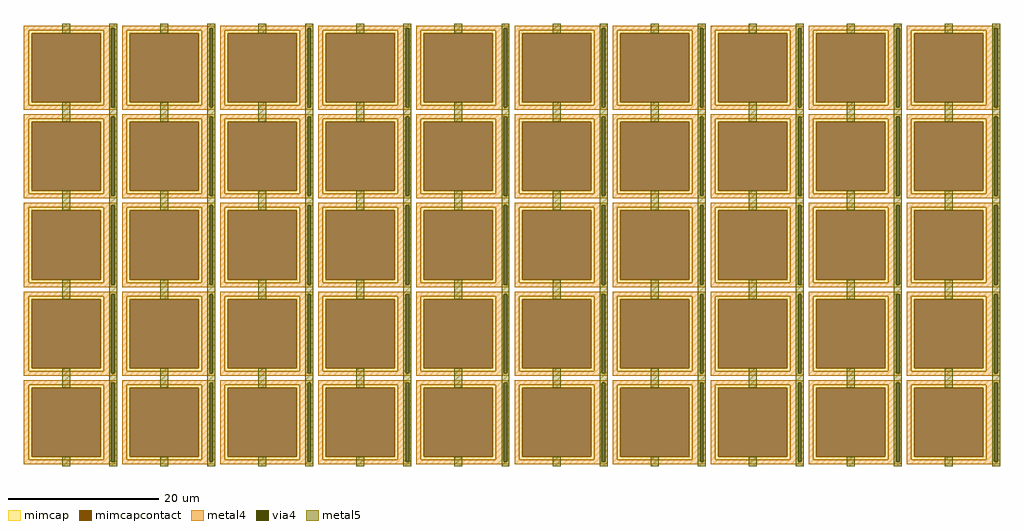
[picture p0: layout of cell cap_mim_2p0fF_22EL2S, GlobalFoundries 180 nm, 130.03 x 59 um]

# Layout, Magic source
magic
tech gf180mcuD
magscale 1 10
<< mimcap >>
rect -12883 5640 -10883 5720
rect -12883 3800 -12803 5640
rect -10963 3800 -10883 5640
rect -12883 3720 -10883 3800
rect -10269 5640 -8269 5720
rect -10269 3800 -10189 5640
rect -8349 3800 -8269 5640
rect -10269 3720 -8269 3800
rect -7655 5640 -5655 5720
rect -7655 3800 -7575 5640
rect -5735 3800 -5655 5640
rect -7655 3720 -5655 3800
rect -5041 5640 -3041 5720
rect -5041 3800 -4961 5640
rect -3121 3800 -3041 5640
rect -5041 3720 -3041 3800
rect -2427 5640 -427 5720
rect -2427 3800 -2347 5640
rect -507 3800 -427 5640
rect -2427 3720 -427 3800
rect 187 5640 2187 5720
rect 187 3800 267 5640
rect 2107 3800 2187 5640
rect 187 3720 2187 3800
rect 2801 5640 4801 5720
rect 2801 3800 2881 5640
rect 4721 3800 4801 5640
rect 2801 3720 4801 3800
rect 5415 5640 7415 5720
rect 5415 3800 5495 5640
rect 7335 3800 7415 5640
rect 5415 3720 7415 3800
rect 8029 5640 10029 5720
rect 8029 3800 8109 5640
rect 9949 3800 10029 5640
rect 8029 3720 10029 3800
rect 10643 5640 12643 5720
rect 10643 3800 10723 5640
rect 12563 3800 12643 5640
rect 10643 3720 12643 3800
rect -12883 3280 -10883 3360
rect -12883 1440 -12803 3280
rect -10963 1440 -10883 3280
rect -12883 1360 -10883 1440
rect -10269 3280 -8269 3360
rect -10269 1440 -10189 3280
rect -8349 1440 -8269 3280
rect -10269 1360 -8269 1440
rect -7655 3280 -5655 3360
rect -7655 1440 -7575 3280
rect -5735 1440 -5655 3280
rect -7655 1360 -5655 1440
rect -5041 3280 -3041 3360
rect -5041 1440 -4961 3280
rect -3121 1440 -3041 3280
rect -5041 1360 -3041 1440
rect -2427 3280 -427 3360
rect -2427 1440 -2347 3280
rect -507 1440 -427 3280
rect -2427 1360 -427 1440
rect 187 3280 2187 3360
rect 187 1440 267 3280
rect 2107 1440 2187 3280
rect 187 1360 2187 1440
rect 2801 3280 4801 3360
rect 2801 1440 2881 3280
rect 4721 1440 4801 3280
rect 2801 1360 4801 1440
rect 5415 3280 7415 3360
rect 5415 1440 5495 3280
rect 7335 1440 7415 3280
rect 5415 1360 7415 1440
rect 8029 3280 10029 3360
rect 8029 1440 8109 3280
rect 9949 1440 10029 3280
rect 8029 1360 10029 1440
rect 10643 3280 12643 3360
rect 10643 1440 10723 3280
rect 12563 1440 12643 3280
rect 10643 1360 12643 1440
rect -12883 920 -10883 1000
rect -12883 -920 -12803 920
rect -10963 -920 -10883 920
rect -12883 -1000 -10883 -920
rect -10269 920 -8269 1000
rect -10269 -920 -10189 920
rect -8349 -920 -8269 920
rect -10269 -1000 -8269 -920
rect -7655 920 -5655 1000
rect -7655 -920 -7575 920
rect -5735 -920 -5655 920
rect -7655 -1000 -5655 -920
rect -5041 920 -3041 1000
rect -5041 -920 -4961 920
rect -3121 -920 -3041 920
rect -5041 -1000 -3041 -920
rect -2427 920 -427 1000
rect -2427 -920 -2347 920
rect -507 -920 -427 920
rect -2427 -1000 -427 -920
rect 187 920 2187 1000
rect 187 -920 267 920
rect 2107 -920 2187 920
rect 187 -1000 2187 -920
rect 2801 920 4801 1000
rect 2801 -920 2881 920
rect 4721 -920 4801 920
rect 2801 -1000 4801 -920
rect 5415 920 7415 1000
rect 5415 -920 5495 920
rect 7335 -920 7415 920
rect 5415 -1000 7415 -920
rect 8029 920 10029 1000
rect 8029 -920 8109 920
rect 9949 -920 10029 920
rect 8029 -1000 10029 -920
rect 10643 920 12643 1000
rect 10643 -920 10723 920
rect 12563 -920 12643 920
rect 10643 -1000 12643 -920
rect -12883 -1440 -10883 -1360
rect -12883 -3280 -12803 -1440
rect -10963 -3280 -10883 -1440
rect -12883 -3360 -10883 -3280
rect -10269 -1440 -8269 -1360
rect -10269 -3280 -10189 -1440
rect -8349 -3280 -8269 -1440
rect -10269 -3360 -8269 -3280
rect -7655 -1440 -5655 -1360
rect -7655 -3280 -7575 -1440
rect -5735 -3280 -5655 -1440
rect -7655 -3360 -5655 -3280
rect -5041 -1440 -3041 -1360
rect -5041 -3280 -4961 -1440
rect -3121 -3280 -3041 -1440
rect -5041 -3360 -3041 -3280
rect -2427 -1440 -427 -1360
rect -2427 -3280 -2347 -1440
rect -507 -3280 -427 -1440
rect -2427 -3360 -427 -3280
rect 187 -1440 2187 -1360
rect 187 -3280 267 -1440
rect 2107 -3280 2187 -1440
rect 187 -3360 2187 -3280
rect 2801 -1440 4801 -1360
rect 2801 -3280 2881 -1440
rect 4721 -3280 4801 -1440
rect 2801 -3360 4801 -3280
rect 5415 -1440 7415 -1360
rect 5415 -3280 5495 -1440
rect 7335 -3280 7415 -1440
rect 5415 -3360 7415 -3280
rect 8029 -1440 10029 -1360
rect 8029 -3280 8109 -1440
rect 9949 -3280 10029 -1440
rect 8029 -3360 10029 -3280
rect 10643 -1440 12643 -1360
rect 10643 -3280 10723 -1440
rect 12563 -3280 12643 -1440
rect 10643 -3360 12643 -3280
rect -12883 -3800 -10883 -3720
rect -12883 -5640 -12803 -3800
rect -10963 -5640 -10883 -3800
rect -12883 -5720 -10883 -5640
rect -10269 -3800 -8269 -3720
rect -10269 -5640 -10189 -3800
rect -8349 -5640 -8269 -3800
rect -10269 -5720 -8269 -5640
rect -7655 -3800 -5655 -3720
rect -7655 -5640 -7575 -3800
rect -5735 -5640 -5655 -3800
rect -7655 -5720 -5655 -5640
rect -5041 -3800 -3041 -3720
rect -5041 -5640 -4961 -3800
rect -3121 -5640 -3041 -3800
rect -5041 -5720 -3041 -5640
rect -2427 -3800 -427 -3720
rect -2427 -5640 -2347 -3800
rect -507 -5640 -427 -3800
rect -2427 -5720 -427 -5640
rect 187 -3800 2187 -3720
rect 187 -5640 267 -3800
rect 2107 -5640 2187 -3800
rect 187 -5720 2187 -5640
rect 2801 -3800 4801 -3720
rect 2801 -5640 2881 -3800
rect 4721 -5640 4801 -3800
rect 2801 -5720 4801 -5640
rect 5415 -3800 7415 -3720
rect 5415 -5640 5495 -3800
rect 7335 -5640 7415 -3800
rect 5415 -5720 7415 -5640
rect 8029 -3800 10029 -3720
rect 8029 -5640 8109 -3800
rect 9949 -5640 10029 -3800
rect 8029 -5720 10029 -5640
rect 10643 -3800 12643 -3720
rect 10643 -5640 10723 -3800
rect 12563 -5640 12643 -3800
rect 10643 -5720 12643 -5640
<< mimcapcontact >>
rect -12803 3800 -10963 5640
rect -10189 3800 -8349 5640
rect -7575 3800 -5735 5640
rect -4961 3800 -3121 5640
rect -2347 3800 -507 5640
rect 267 3800 2107 5640
rect 2881 3800 4721 5640
rect 5495 3800 7335 5640
rect 8109 3800 9949 5640
rect 10723 3800 12563 5640
rect -12803 1440 -10963 3280
rect -10189 1440 -8349 3280
rect -7575 1440 -5735 3280
rect -4961 1440 -3121 3280
rect -2347 1440 -507 3280
rect 267 1440 2107 3280
rect 2881 1440 4721 3280
rect 5495 1440 7335 3280
rect 8109 1440 9949 3280
rect 10723 1440 12563 3280
rect -12803 -920 -10963 920
rect -10189 -920 -8349 920
rect -7575 -920 -5735 920
rect -4961 -920 -3121 920
rect -2347 -920 -507 920
rect 267 -920 2107 920
rect 2881 -920 4721 920
rect 5495 -920 7335 920
rect 8109 -920 9949 920
rect 10723 -920 12563 920
rect -12803 -3280 -10963 -1440
rect -10189 -3280 -8349 -1440
rect -7575 -3280 -5735 -1440
rect -4961 -3280 -3121 -1440
rect -2347 -3280 -507 -1440
rect 267 -3280 2107 -1440
rect 2881 -3280 4721 -1440
rect 5495 -3280 7335 -1440
rect 8109 -3280 9949 -1440
rect 10723 -3280 12563 -1440
rect -12803 -5640 -10963 -3800
rect -10189 -5640 -8349 -3800
rect -7575 -5640 -5735 -3800
rect -4961 -5640 -3121 -3800
rect -2347 -5640 -507 -3800
rect 267 -5640 2107 -3800
rect 2881 -5640 4721 -3800
rect 5495 -5640 7335 -3800
rect 8109 -5640 9949 -3800
rect 10723 -5640 12563 -3800
<< metal4 >>
rect -13003 5773 -10523 5840
rect -13003 5720 -10673 5773
rect -13003 3720 -12883 5720
rect -10883 3720 -10673 5720
rect -13003 3667 -10673 3720
rect -10585 3667 -10523 5773
rect -13003 3600 -10523 3667
rect -10389 5773 -7909 5840
rect -10389 5720 -8059 5773
rect -10389 3720 -10269 5720
rect -8269 3720 -8059 5720
rect -10389 3667 -8059 3720
rect -7971 3667 -7909 5773
rect -10389 3600 -7909 3667
rect -7775 5773 -5295 5840
rect -7775 5720 -5445 5773
rect -7775 3720 -7655 5720
rect -5655 3720 -5445 5720
rect -7775 3667 -5445 3720
rect -5357 3667 -5295 5773
rect -7775 3600 -5295 3667
rect -5161 5773 -2681 5840
rect -5161 5720 -2831 5773
rect -5161 3720 -5041 5720
rect -3041 3720 -2831 5720
rect -5161 3667 -2831 3720
rect -2743 3667 -2681 5773
rect -5161 3600 -2681 3667
rect -2547 5773 -67 5840
rect -2547 5720 -217 5773
rect -2547 3720 -2427 5720
rect -427 3720 -217 5720
rect -2547 3667 -217 3720
rect -129 3667 -67 5773
rect -2547 3600 -67 3667
rect 67 5773 2547 5840
rect 67 5720 2397 5773
rect 67 3720 187 5720
rect 2187 3720 2397 5720
rect 67 3667 2397 3720
rect 2485 3667 2547 5773
rect 67 3600 2547 3667
rect 2681 5773 5161 5840
rect 2681 5720 5011 5773
rect 2681 3720 2801 5720
rect 4801 3720 5011 5720
rect 2681 3667 5011 3720
rect 5099 3667 5161 5773
rect 2681 3600 5161 3667
rect 5295 5773 7775 5840
rect 5295 5720 7625 5773
rect 5295 3720 5415 5720
rect 7415 3720 7625 5720
rect 5295 3667 7625 3720
rect 7713 3667 7775 5773
rect 5295 3600 7775 3667
rect 7909 5773 10389 5840
rect 7909 5720 10239 5773
rect 7909 3720 8029 5720
rect 10029 3720 10239 5720
rect 7909 3667 10239 3720
rect 10327 3667 10389 5773
rect 7909 3600 10389 3667
rect 10523 5773 13003 5840
rect 10523 5720 12853 5773
rect 10523 3720 10643 5720
rect 12643 3720 12853 5720
rect 10523 3667 12853 3720
rect 12941 3667 13003 5773
rect 10523 3600 13003 3667
rect -13003 3413 -10523 3480
rect -13003 3360 -10673 3413
rect -13003 1360 -12883 3360
rect -10883 1360 -10673 3360
rect -13003 1307 -10673 1360
rect -10585 1307 -10523 3413
rect -13003 1240 -10523 1307
rect -10389 3413 -7909 3480
rect -10389 3360 -8059 3413
rect -10389 1360 -10269 3360
rect -8269 1360 -8059 3360
rect -10389 1307 -8059 1360
rect -7971 1307 -7909 3413
rect -10389 1240 -7909 1307
rect -7775 3413 -5295 3480
rect -7775 3360 -5445 3413
rect -7775 1360 -7655 3360
rect -5655 1360 -5445 3360
rect -7775 1307 -5445 1360
rect -5357 1307 -5295 3413
rect -7775 1240 -5295 1307
rect -5161 3413 -2681 3480
rect -5161 3360 -2831 3413
rect -5161 1360 -5041 3360
rect -3041 1360 -2831 3360
rect -5161 1307 -2831 1360
rect -2743 1307 -2681 3413
rect -5161 1240 -2681 1307
rect -2547 3413 -67 3480
rect -2547 3360 -217 3413
rect -2547 1360 -2427 3360
rect -427 1360 -217 3360
rect -2547 1307 -217 1360
rect -129 1307 -67 3413
rect -2547 1240 -67 1307
rect 67 3413 2547 3480
rect 67 3360 2397 3413
rect 67 1360 187 3360
rect 2187 1360 2397 3360
rect 67 1307 2397 1360
rect 2485 1307 2547 3413
rect 67 1240 2547 1307
rect 2681 3413 5161 3480
rect 2681 3360 5011 3413
rect 2681 1360 2801 3360
rect 4801 1360 5011 3360
rect 2681 1307 5011 1360
rect 5099 1307 5161 3413
rect 2681 1240 5161 1307
rect 5295 3413 7775 3480
rect 5295 3360 7625 3413
rect 5295 1360 5415 3360
rect 7415 1360 7625 3360
rect 5295 1307 7625 1360
rect 7713 1307 7775 3413
rect 5295 1240 7775 1307
rect 7909 3413 10389 3480
rect 7909 3360 10239 3413
rect 7909 1360 8029 3360
rect 10029 1360 10239 3360
rect 7909 1307 10239 1360
rect 10327 1307 10389 3413
rect 7909 1240 10389 1307
rect 10523 3413 13003 3480
rect 10523 3360 12853 3413
rect 10523 1360 10643 3360
rect 12643 1360 12853 3360
rect 10523 1307 12853 1360
rect 12941 1307 13003 3413
rect 10523 1240 13003 1307
rect -13003 1053 -10523 1120
rect -13003 1000 -10673 1053
rect -13003 -1000 -12883 1000
rect -10883 -1000 -10673 1000
rect -13003 -1053 -10673 -1000
rect -10585 -1053 -10523 1053
rect -13003 -1120 -10523 -1053
rect -10389 1053 -7909 1120
rect -10389 1000 -8059 1053
rect -10389 -1000 -10269 1000
rect -8269 -1000 -8059 1000
rect -10389 -1053 -8059 -1000
rect -7971 -1053 -7909 1053
rect -10389 -1120 -7909 -1053
rect -7775 1053 -5295 1120
rect -7775 1000 -5445 1053
rect -7775 -1000 -7655 1000
rect -5655 -1000 -5445 1000
rect -7775 -1053 -5445 -1000
rect -5357 -1053 -5295 1053
rect -7775 -1120 -5295 -1053
rect -5161 1053 -2681 1120
rect -5161 1000 -2831 1053
rect -5161 -1000 -5041 1000
rect -3041 -1000 -2831 1000
rect -5161 -1053 -2831 -1000
rect -2743 -1053 -2681 1053
rect -5161 -1120 -2681 -1053
rect -2547 1053 -67 1120
rect -2547 1000 -217 1053
rect -2547 -1000 -2427 1000
rect -427 -1000 -217 1000
rect -2547 -1053 -217 -1000
rect -129 -1053 -67 1053
rect -2547 -1120 -67 -1053
rect 67 1053 2547 1120
rect 67 1000 2397 1053
rect 67 -1000 187 1000
rect 2187 -1000 2397 1000
rect 67 -1053 2397 -1000
rect 2485 -1053 2547 1053
rect 67 -1120 2547 -1053
rect 2681 1053 5161 1120
rect 2681 1000 5011 1053
rect 2681 -1000 2801 1000
rect 4801 -1000 5011 1000
rect 2681 -1053 5011 -1000
rect 5099 -1053 5161 1053
rect 2681 -1120 5161 -1053
rect 5295 1053 7775 1120
rect 5295 1000 7625 1053
rect 5295 -1000 5415 1000
rect 7415 -1000 7625 1000
rect 5295 -1053 7625 -1000
rect 7713 -1053 7775 1053
rect 5295 -1120 7775 -1053
rect 7909 1053 10389 1120
rect 7909 1000 10239 1053
rect 7909 -1000 8029 1000
rect 10029 -1000 10239 1000
rect 7909 -1053 10239 -1000
rect 10327 -1053 10389 1053
rect 7909 -1120 10389 -1053
rect 10523 1053 13003 1120
rect 10523 1000 12853 1053
rect 10523 -1000 10643 1000
rect 12643 -1000 12853 1000
rect 10523 -1053 12853 -1000
rect 12941 -1053 13003 1053
rect 10523 -1120 13003 -1053
rect -13003 -1307 -10523 -1240
rect -13003 -1360 -10673 -1307
rect -13003 -3360 -12883 -1360
rect -10883 -3360 -10673 -1360
rect -13003 -3413 -10673 -3360
rect -10585 -3413 -10523 -1307
rect -13003 -3480 -10523 -3413
rect -10389 -1307 -7909 -1240
rect -10389 -1360 -8059 -1307
rect -10389 -3360 -10269 -1360
rect -8269 -3360 -8059 -1360
rect -10389 -3413 -8059 -3360
rect -7971 -3413 -7909 -1307
rect -10389 -3480 -7909 -3413
rect -7775 -1307 -5295 -1240
rect -7775 -1360 -5445 -1307
rect -7775 -3360 -7655 -1360
rect -5655 -3360 -5445 -1360
rect -7775 -3413 -5445 -3360
rect -5357 -3413 -5295 -1307
rect -7775 -3480 -5295 -3413
rect -5161 -1307 -2681 -1240
rect -5161 -1360 -2831 -1307
rect -5161 -3360 -5041 -1360
rect -3041 -3360 -2831 -1360
rect -5161 -3413 -2831 -3360
rect -2743 -3413 -2681 -1307
rect -5161 -3480 -2681 -3413
rect -2547 -1307 -67 -1240
rect -2547 -1360 -217 -1307
rect -2547 -3360 -2427 -1360
rect -427 -3360 -217 -1360
rect -2547 -3413 -217 -3360
rect -129 -3413 -67 -1307
rect -2547 -3480 -67 -3413
rect 67 -1307 2547 -1240
rect 67 -1360 2397 -1307
rect 67 -3360 187 -1360
rect 2187 -3360 2397 -1360
rect 67 -3413 2397 -3360
rect 2485 -3413 2547 -1307
rect 67 -3480 2547 -3413
rect 2681 -1307 5161 -1240
rect 2681 -1360 5011 -1307
rect 2681 -3360 2801 -1360
rect 4801 -3360 5011 -1360
rect 2681 -3413 5011 -3360
rect 5099 -3413 5161 -1307
rect 2681 -3480 5161 -3413
rect 5295 -1307 7775 -1240
rect 5295 -1360 7625 -1307
rect 5295 -3360 5415 -1360
rect 7415 -3360 7625 -1360
rect 5295 -3413 7625 -3360
rect 7713 -3413 7775 -1307
rect 5295 -3480 7775 -3413
rect 7909 -1307 10389 -1240
rect 7909 -1360 10239 -1307
rect 7909 -3360 8029 -1360
rect 10029 -3360 10239 -1360
rect 7909 -3413 10239 -3360
rect 10327 -3413 10389 -1307
rect 7909 -3480 10389 -3413
rect 10523 -1307 13003 -1240
rect 10523 -1360 12853 -1307
rect 10523 -3360 10643 -1360
rect 12643 -3360 12853 -1360
rect 10523 -3413 12853 -3360
rect 12941 -3413 13003 -1307
rect 10523 -3480 13003 -3413
rect -13003 -3667 -10523 -3600
rect -13003 -3720 -10673 -3667
rect -13003 -5720 -12883 -3720
rect -10883 -5720 -10673 -3720
rect -13003 -5773 -10673 -5720
rect -10585 -5773 -10523 -3667
rect -13003 -5840 -10523 -5773
rect -10389 -3667 -7909 -3600
rect -10389 -3720 -8059 -3667
rect -10389 -5720 -10269 -3720
rect -8269 -5720 -8059 -3720
rect -10389 -5773 -8059 -5720
rect -7971 -5773 -7909 -3667
rect -10389 -5840 -7909 -5773
rect -7775 -3667 -5295 -3600
rect -7775 -3720 -5445 -3667
rect -7775 -5720 -7655 -3720
rect -5655 -5720 -5445 -3720
rect -7775 -5773 -5445 -5720
rect -5357 -5773 -5295 -3667
rect -7775 -5840 -5295 -5773
rect -5161 -3667 -2681 -3600
rect -5161 -3720 -2831 -3667
rect -5161 -5720 -5041 -3720
rect -3041 -5720 -2831 -3720
rect -5161 -5773 -2831 -5720
rect -2743 -5773 -2681 -3667
rect -5161 -5840 -2681 -5773
rect -2547 -3667 -67 -3600
rect -2547 -3720 -217 -3667
rect -2547 -5720 -2427 -3720
rect -427 -5720 -217 -3720
rect -2547 -5773 -217 -5720
rect -129 -5773 -67 -3667
rect -2547 -5840 -67 -5773
rect 67 -3667 2547 -3600
rect 67 -3720 2397 -3667
rect 67 -5720 187 -3720
rect 2187 -5720 2397 -3720
rect 67 -5773 2397 -5720
rect 2485 -5773 2547 -3667
rect 67 -5840 2547 -5773
rect 2681 -3667 5161 -3600
rect 2681 -3720 5011 -3667
rect 2681 -5720 2801 -3720
rect 4801 -5720 5011 -3720
rect 2681 -5773 5011 -5720
rect 5099 -5773 5161 -3667
rect 2681 -5840 5161 -5773
rect 5295 -3667 7775 -3600
rect 5295 -3720 7625 -3667
rect 5295 -5720 5415 -3720
rect 7415 -5720 7625 -3720
rect 5295 -5773 7625 -5720
rect 7713 -5773 7775 -3667
rect 5295 -5840 7775 -5773
rect 7909 -3667 10389 -3600
rect 7909 -3720 10239 -3667
rect 7909 -5720 8029 -3720
rect 10029 -5720 10239 -3720
rect 7909 -5773 10239 -5720
rect 10327 -5773 10389 -3667
rect 7909 -5840 10389 -5773
rect 10523 -3667 13003 -3600
rect 10523 -3720 12853 -3667
rect 10523 -5720 10643 -3720
rect 12643 -5720 12853 -3720
rect 10523 -5773 12853 -5720
rect 12941 -5773 13003 -3667
rect 10523 -5840 13003 -5773
<< via4 >>
rect -10673 3667 -10585 5773
rect -8059 3667 -7971 5773
rect -5445 3667 -5357 5773
rect -2831 3667 -2743 5773
rect -217 3667 -129 5773
rect 2397 3667 2485 5773
rect 5011 3667 5099 5773
rect 7625 3667 7713 5773
rect 10239 3667 10327 5773
rect 12853 3667 12941 5773
rect -10673 1307 -10585 3413
rect -8059 1307 -7971 3413
rect -5445 1307 -5357 3413
rect -2831 1307 -2743 3413
rect -217 1307 -129 3413
rect 2397 1307 2485 3413
rect 5011 1307 5099 3413
rect 7625 1307 7713 3413
rect 10239 1307 10327 3413
rect 12853 1307 12941 3413
rect -10673 -1053 -10585 1053
rect -8059 -1053 -7971 1053
rect -5445 -1053 -5357 1053
rect -2831 -1053 -2743 1053
rect -217 -1053 -129 1053
rect 2397 -1053 2485 1053
rect 5011 -1053 5099 1053
rect 7625 -1053 7713 1053
rect 10239 -1053 10327 1053
rect 12853 -1053 12941 1053
rect -10673 -3413 -10585 -1307
rect -8059 -3413 -7971 -1307
rect -5445 -3413 -5357 -1307
rect -2831 -3413 -2743 -1307
rect -217 -3413 -129 -1307
rect 2397 -3413 2485 -1307
rect 5011 -3413 5099 -1307
rect 7625 -3413 7713 -1307
rect 10239 -3413 10327 -1307
rect 12853 -3413 12941 -1307
rect -10673 -5773 -10585 -3667
rect -8059 -5773 -7971 -3667
rect -5445 -5773 -5357 -3667
rect -2831 -5773 -2743 -3667
rect -217 -5773 -129 -3667
rect 2397 -5773 2485 -3667
rect 5011 -5773 5099 -3667
rect 7625 -5773 7713 -3667
rect 10239 -5773 10327 -3667
rect 12853 -5773 12941 -3667
<< metal5 >>
rect -11989 5640 -11777 5900
rect -10735 5773 -10523 5900
rect -11989 3280 -11777 3800
rect -10735 3667 -10673 5773
rect -10585 3667 -10523 5773
rect -9375 5640 -9163 5900
rect -8121 5773 -7909 5900
rect -10735 3413 -10523 3667
rect -11989 920 -11777 1440
rect -10735 1307 -10673 3413
rect -10585 1307 -10523 3413
rect -9375 3280 -9163 3800
rect -8121 3667 -8059 5773
rect -7971 3667 -7909 5773
rect -6761 5640 -6549 5900
rect -5507 5773 -5295 5900
rect -8121 3413 -7909 3667
rect -10735 1053 -10523 1307
rect -11989 -1440 -11777 -920
rect -10735 -1053 -10673 1053
rect -10585 -1053 -10523 1053
rect -9375 920 -9163 1440
rect -8121 1307 -8059 3413
rect -7971 1307 -7909 3413
rect -6761 3280 -6549 3800
rect -5507 3667 -5445 5773
rect -5357 3667 -5295 5773
rect -4147 5640 -3935 5900
rect -2893 5773 -2681 5900
rect -5507 3413 -5295 3667
rect -8121 1053 -7909 1307
rect -10735 -1307 -10523 -1053
rect -11989 -3800 -11777 -3280
rect -10735 -3413 -10673 -1307
rect -10585 -3413 -10523 -1307
rect -9375 -1440 -9163 -920
rect -8121 -1053 -8059 1053
rect -7971 -1053 -7909 1053
rect -6761 920 -6549 1440
rect -5507 1307 -5445 3413
rect -5357 1307 -5295 3413
rect -4147 3280 -3935 3800
rect -2893 3667 -2831 5773
rect -2743 3667 -2681 5773
rect -1533 5640 -1321 5900
rect -279 5773 -67 5900
rect -2893 3413 -2681 3667
rect -5507 1053 -5295 1307
rect -8121 -1307 -7909 -1053
rect -10735 -3667 -10523 -3413
rect -11989 -5900 -11777 -5640
rect -10735 -5773 -10673 -3667
rect -10585 -5773 -10523 -3667
rect -9375 -3800 -9163 -3280
rect -8121 -3413 -8059 -1307
rect -7971 -3413 -7909 -1307
rect -6761 -1440 -6549 -920
rect -5507 -1053 -5445 1053
rect -5357 -1053 -5295 1053
rect -4147 920 -3935 1440
rect -2893 1307 -2831 3413
rect -2743 1307 -2681 3413
rect -1533 3280 -1321 3800
rect -279 3667 -217 5773
rect -129 3667 -67 5773
rect 1081 5640 1293 5900
rect 2335 5773 2547 5900
rect -279 3413 -67 3667
rect -2893 1053 -2681 1307
rect -5507 -1307 -5295 -1053
rect -8121 -3667 -7909 -3413
rect -10735 -5900 -10523 -5773
rect -9375 -5900 -9163 -5640
rect -8121 -5773 -8059 -3667
rect -7971 -5773 -7909 -3667
rect -6761 -3800 -6549 -3280
rect -5507 -3413 -5445 -1307
rect -5357 -3413 -5295 -1307
rect -4147 -1440 -3935 -920
rect -2893 -1053 -2831 1053
rect -2743 -1053 -2681 1053
rect -1533 920 -1321 1440
rect -279 1307 -217 3413
rect -129 1307 -67 3413
rect 1081 3280 1293 3800
rect 2335 3667 2397 5773
rect 2485 3667 2547 5773
rect 3695 5640 3907 5900
rect 4949 5773 5161 5900
rect 2335 3413 2547 3667
rect -279 1053 -67 1307
rect -2893 -1307 -2681 -1053
rect -5507 -3667 -5295 -3413
rect -8121 -5900 -7909 -5773
rect -6761 -5900 -6549 -5640
rect -5507 -5773 -5445 -3667
rect -5357 -5773 -5295 -3667
rect -4147 -3800 -3935 -3280
rect -2893 -3413 -2831 -1307
rect -2743 -3413 -2681 -1307
rect -1533 -1440 -1321 -920
rect -279 -1053 -217 1053
rect -129 -1053 -67 1053
rect 1081 920 1293 1440
rect 2335 1307 2397 3413
rect 2485 1307 2547 3413
rect 3695 3280 3907 3800
rect 4949 3667 5011 5773
rect 5099 3667 5161 5773
rect 6309 5640 6521 5900
rect 7563 5773 7775 5900
rect 4949 3413 5161 3667
rect 2335 1053 2547 1307
rect -279 -1307 -67 -1053
rect -2893 -3667 -2681 -3413
rect -5507 -5900 -5295 -5773
rect -4147 -5900 -3935 -5640
rect -2893 -5773 -2831 -3667
rect -2743 -5773 -2681 -3667
rect -1533 -3800 -1321 -3280
rect -279 -3413 -217 -1307
rect -129 -3413 -67 -1307
rect 1081 -1440 1293 -920
rect 2335 -1053 2397 1053
rect 2485 -1053 2547 1053
rect 3695 920 3907 1440
rect 4949 1307 5011 3413
rect 5099 1307 5161 3413
rect 6309 3280 6521 3800
rect 7563 3667 7625 5773
rect 7713 3667 7775 5773
rect 8923 5640 9135 5900
rect 10177 5773 10389 5900
rect 7563 3413 7775 3667
rect 4949 1053 5161 1307
rect 2335 -1307 2547 -1053
rect -279 -3667 -67 -3413
rect -2893 -5900 -2681 -5773
rect -1533 -5900 -1321 -5640
rect -279 -5773 -217 -3667
rect -129 -5773 -67 -3667
rect 1081 -3800 1293 -3280
rect 2335 -3413 2397 -1307
rect 2485 -3413 2547 -1307
rect 3695 -1440 3907 -920
rect 4949 -1053 5011 1053
rect 5099 -1053 5161 1053
rect 6309 920 6521 1440
rect 7563 1307 7625 3413
rect 7713 1307 7775 3413
rect 8923 3280 9135 3800
rect 10177 3667 10239 5773
rect 10327 3667 10389 5773
rect 11537 5640 11749 5900
rect 12791 5773 13003 5900
rect 10177 3413 10389 3667
rect 7563 1053 7775 1307
rect 4949 -1307 5161 -1053
rect 2335 -3667 2547 -3413
rect -279 -5900 -67 -5773
rect 1081 -5900 1293 -5640
rect 2335 -5773 2397 -3667
rect 2485 -5773 2547 -3667
rect 3695 -3800 3907 -3280
rect 4949 -3413 5011 -1307
rect 5099 -3413 5161 -1307
rect 6309 -1440 6521 -920
rect 7563 -1053 7625 1053
rect 7713 -1053 7775 1053
rect 8923 920 9135 1440
rect 10177 1307 10239 3413
rect 10327 1307 10389 3413
rect 11537 3280 11749 3800
rect 12791 3667 12853 5773
rect 12941 3667 13003 5773
rect 12791 3413 13003 3667
rect 10177 1053 10389 1307
rect 7563 -1307 7775 -1053
rect 4949 -3667 5161 -3413
rect 2335 -5900 2547 -5773
rect 3695 -5900 3907 -5640
rect 4949 -5773 5011 -3667
rect 5099 -5773 5161 -3667
rect 6309 -3800 6521 -3280
rect 7563 -3413 7625 -1307
rect 7713 -3413 7775 -1307
rect 8923 -1440 9135 -920
rect 10177 -1053 10239 1053
rect 10327 -1053 10389 1053
rect 11537 920 11749 1440
rect 12791 1307 12853 3413
rect 12941 1307 13003 3413
rect 12791 1053 13003 1307
rect 10177 -1307 10389 -1053
rect 7563 -3667 7775 -3413
rect 4949 -5900 5161 -5773
rect 6309 -5900 6521 -5640
rect 7563 -5773 7625 -3667
rect 7713 -5773 7775 -3667
rect 8923 -3800 9135 -3280
rect 10177 -3413 10239 -1307
rect 10327 -3413 10389 -1307
rect 11537 -1440 11749 -920
rect 12791 -1053 12853 1053
rect 12941 -1053 13003 1053
rect 12791 -1307 13003 -1053
rect 10177 -3667 10389 -3413
rect 7563 -5900 7775 -5773
rect 8923 -5900 9135 -5640
rect 10177 -5773 10239 -3667
rect 10327 -5773 10389 -3667
rect 11537 -3800 11749 -3280
rect 12791 -3413 12853 -1307
rect 12941 -3413 13003 -1307
rect 12791 -3667 13003 -3413
rect 10177 -5900 10389 -5773
rect 11537 -5900 11749 -5640
rect 12791 -5773 12853 -3667
rect 12941 -5773 13003 -3667
rect 12791 -5900 13003 -5773
<< properties >>
string FIXED_BBOX 10523 3600 12763 5840
string gencell cap_mim_2p0fF
string library gf180mcu
string parameters w 10 l 10 val 3.3k carea 25.00 cperi 20.00 class capacitor nx 10 ny 5 dummy 0 square 0 lmin 5.00 wmin 5.00 lmax 100.0 wmax 100.0 dc 0 bconnect 1 tconnect 1
<< end >>
